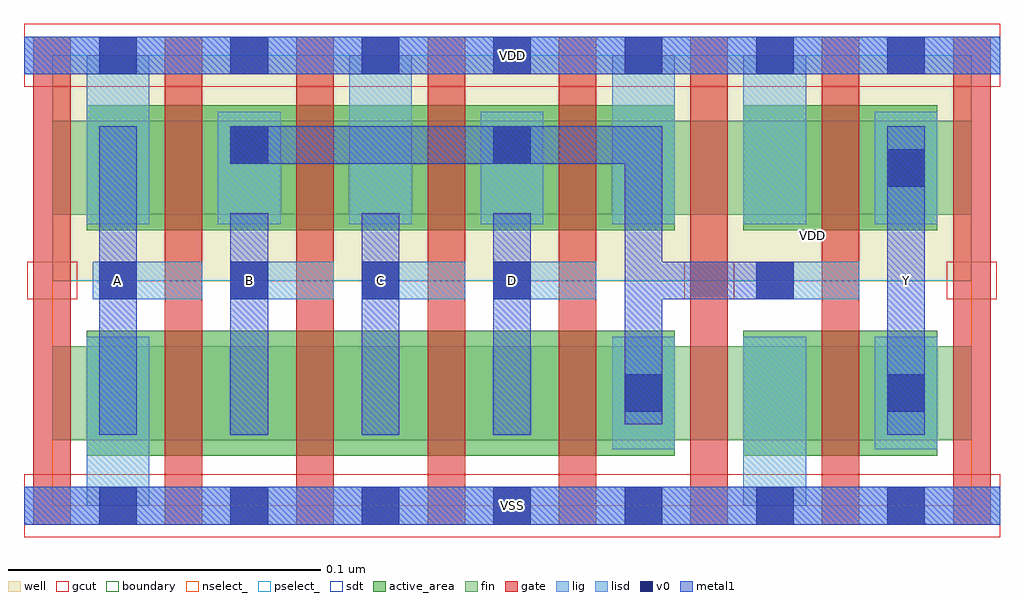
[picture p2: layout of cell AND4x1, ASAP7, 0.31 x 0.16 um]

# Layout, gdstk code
import gdstk
lib = gdstk.Library(unit=1e-6, precision=2.5e-10)
def R(c, l, rs):  # rectangles x0, y0, x1, y1
    for r in rs: c.add(gdstk.rectangle(r[:2], r[2:], *l))
def A(c, l, x, y, w, h, nx, ny, dx, dy):  # array of equal rectangles
    R(c, l, [(x+i*dx, y+j*dy, x+i*dx+w, y+j*dy+h) for i in range(nx) for j in range(ny)])
def P(c, l, *ps):  # polygons
    for p in ps: c.add(gdstk.Polygon(p, *l))
well = (1, 0)
fin = (2, 0)
gate = (7, 0)
gcut = (10, 0)
active_area = (11, 0)
nselect_ = (12, 0)
pselect_ = (13, 0)
lig = (16, 0)
lisd = (17, 0)
v0 = (18, 0)
metal1 = (19, 0)
sdt = (88, 0)
boundary = (100, 0)

and4x1 = lib.new_cell('AND4x1')
R(and4x1, well, [(0,0.072,0.294,0.144)])
R(and4x1, fin, [(0,0.021,0.294,0.051), (0,0.093,0.294,0.123)])
A(and4x1, gate, -0.006, -0.006, 0.012, 0.156, 8, 1, 0.042, 0)
R(and4x1, gcut, [(-0.009,-0.01,0.303,0.01), (-0.008,0.066,0.008,0.078), (0.202,0.066,0.218,0.078), (0.286,0.066,0.302,0.078), (-0.009,0.134,0.303,0.154)])
R(and4x1, active_area, [(0.011,0.016,0.199,0.056), (0.221,0.016,0.283,0.056), (0.011,0.088,0.199,0.128), (0.221,0.088,0.283,0.128)])
R(and4x1, nselect_, [(0,0,0.294,0.072)])
R(and4x1, pselect_, [(0,0.072,0.294,0.144)])
A(and4x1, lig, 0.057, 0.066, 0.033, 0.012, 3, 1, 0.042, 0)
R(and4x1, lig, [(-0.009,-0.006,0.303,0.006), (0.013,0.066,0.048,0.078), (0.225,0.066,0.258,0.078), (-0.009,0.138,0.303,0.15)])
A(and4x1, lisd, 0.011, 0.09, 0.02, 0.054, 3, 1, 0.084, 0)
R(and4x1, lisd, [(0.011,0,0.031,0.054), (0.221,0,0.241,0.054), (0.179,0.018,0.199,0.054), (0.263,0.018,0.283,0.054), (0.053,0.09,0.073,0.126), (0.137,0.09,0.157,0.126), (0.221,0.09,0.241,0.144), (0.263,0.09,0.283,0.126)])
A(and4x1, v0, 0.015, -0.006, 0.012, 0.012, 7, 2, 0.042, 0.144)
A(and4x1, v0, 0.015, 0.066, 0.012, 0.012, 4, 1, 0.042, 0)
R(and4x1, v0, [(0.183,0.03,0.195,0.042), (0.267,0.03,0.279,0.042), (0.225,0.066,0.237,0.078), (0.267,0.102,0.279,0.114), (0.057,0.1092,0.069,0.1212), (0.141,0.1092,0.153,0.1212)])
A(and4x1, metal1, 0.057, 0.0227, 0.012, 0.0708, 3, 1, 0.042, 0)
R(and4x1, metal1, [(-0.009,-0.006,0.303,0.006), (0.015,0.0227,0.027,0.1212), (0.267,0.0227,0.279,0.1212), (-0.009,0.138,0.303,0.15)])
P(and4x1, metal1, [(0.237,0.066),(0.237,0.078),(0.195,0.078),(0.195,0.1212),(0.057,0.1212),(0.057,0.1092),(0.183,0.1092),(0.183,0.026),(0.195,0.026),(0.195,0.066)])
A(and4x1, sdt, 0.179, 0.021, 0.02, 0.03, 3, 1, 0.042, 0)
A(and4x1, sdt, 0.011, 0.093, 0.02, 0.03, 7, 1, 0.042, 0)
R(and4x1, sdt, [(0.011,0.021,0.031,0.051)])
R(and4x1, boundary, [(0,0,0.294,0.144)])
and4x1.add(gdstk.Label('VDD', (0.243,0.0865), layer=1, texttype=251))
and4x1.add(gdstk.Label('VSS', (0.312,0.0505), layer=3, texttype=251))
and4x1.add(gdstk.Label('B', (0.063,0.072), layer=19, texttype=251))
and4x1.add(gdstk.Label('VDD', (0.147,0.144), layer=19, texttype=251))
and4x1.add(gdstk.Label('VSS', (0.147,0), layer=19, texttype=251))
and4x1.add(gdstk.Label('A', (0.021,0.072), layer=19, texttype=251))
and4x1.add(gdstk.Label('Y', (0.273,0.072), layer=19, texttype=251))
and4x1.add(gdstk.Label('C', (0.105,0.072), layer=19, texttype=251))
and4x1.add(gdstk.Label('D', (0.147,0.072), layer=19, texttype=251))

lib.write_gds('AND4x1.gds')
